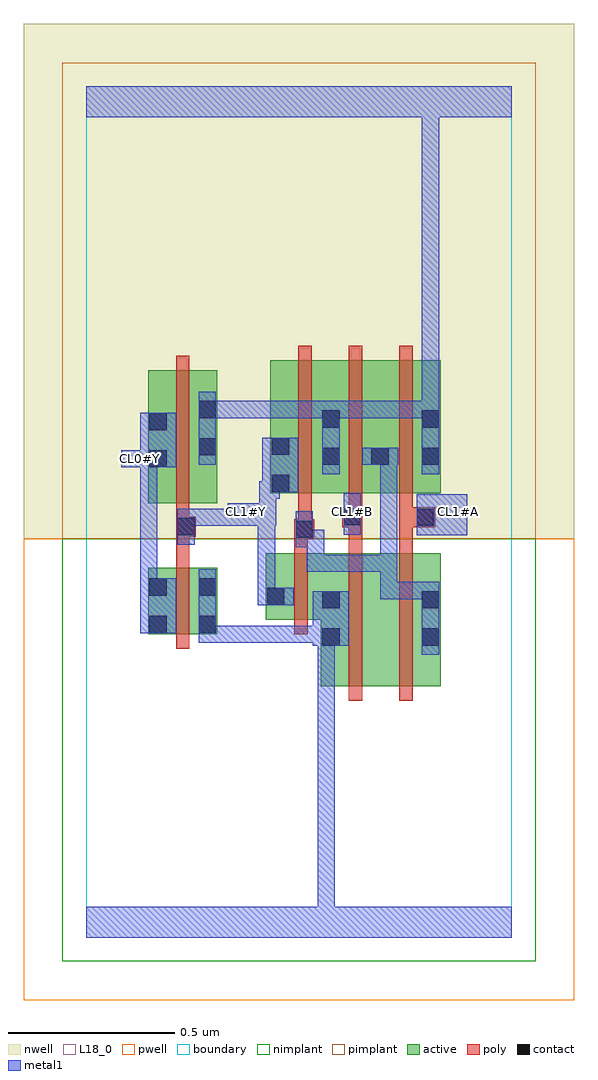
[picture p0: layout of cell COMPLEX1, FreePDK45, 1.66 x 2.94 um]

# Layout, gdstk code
import gdstk
lib = gdstk.Library(unit=1e-6, precision=1e-09)
def R(c, l, rs):  # rectangles x0, y0, x1, y1
    for r in rs: c.add(gdstk.rectangle(r[:2], r[2:], *l))
def A(c, l, x, y, w, h, nx, ny, dx, dy):  # array of equal rectangles
    R(c, l, [(x+i*dx, y+j*dy, x+i*dx+w, y+j*dy+h) for i in range(nx) for j in range(ny)])
active = (1, 0)
pwell = (2, 0)
nwell = (3, 0)
nimplant = (4, 0)
pimplant = (5, 0)
poly = (9, 0)
contact = (10, 0)
metal1 = (11, 0)
L18_0 = (18, 0)
boundary = (235, 0)

complex1 = lib.new_cell('COMPLEX1')
R(complex1, active, [(0.706,0.756,0.766,1.156), (0.706,0.756,0.886,1.156), (0.886,0.756,1.066,1.156), (1.006,0.756,1.066,1.156), (0.186,0.912,0.246,1.112), (0.186,0.912,0.394,1.112), (0.334,0.912,0.394,1.112), (0.54,0.956,0.766,1.156), (0.54,0.956,0.6,1.156), (0.186,1.306,0.394,1.706), (0.186,1.306,0.246,1.644), (0.334,1.306,0.394,1.644), (0.554,1.336,0.614,1.644), (0.554,1.336,0.766,1.736), (0.706,1.336,0.766,1.644), (0.706,1.336,0.914,1.736), (0.854,1.336,0.914,1.644), (0.854,1.336,1.066,1.736), (1.006,1.336,1.066,1.644)])
R(complex1, pwell, [(-0.188,-0.188,1.468,1.2)])
R(complex1, nwell, [(-0.188,1.2,1.468,2.748)])
R(complex1, nimplant, [(-0.072,-0.072,1.352,1.2)])
R(complex1, pimplant, [(-0.072,1.2,1.352,2.632)])
A(complex1, poly, 0.638, 1.292, 0.04, 0.488, 3, 1, 0.152, 0)
R(complex1, poly, [(0.79,0.712,0.83,1.2), (0.942,0.712,0.982,1.2), (0.27,0.868,0.31,1.156), (0.626,0.912,0.666,1.2), (0.27,1.116,0.31,1.246), (0.626,1.16,0.666,1.238), (0.79,1.16,0.83,1.274), (0.942,1.16,0.982,1.274), (0.626,1.198,0.686,1.258), (0.27,1.206,0.33,1.266), (0.638,1.218,0.678,1.258), (0.638,1.218,0.678,1.258), (0.638,1.218,0.678,1.332), (0.27,1.226,0.31,1.266), (0.27,1.226,0.31,1.266), (0.27,1.226,0.31,1.302), (0.77,1.234,0.83,1.296), (0.79,1.234,0.83,1.274), (0.79,1.234,0.83,1.274), (0.942,1.234,1.05,1.294), (0.942,1.254,0.982,1.332), (0.942,1.254,0.982,1.294), (0.942,1.254,0.982,1.294), (0.79,1.256,0.83,1.332), (0.27,1.262,0.31,1.75)])
R(complex1, contact, [(0.71,0.878,0.762,0.93), (1.01,0.878,1.062,0.93), (0.19,0.916,0.242,0.968), (0.338,0.916,0.39,0.968), (0.71,0.99,0.762,1.042), (1.01,0.99,1.062,1.042), (0.544,1,0.596,1.052), (0.19,1.028,0.242,1.08), (0.338,1.028,0.39,1.08), (0.63,1.202,0.682,1.254), (0.274,1.21,0.326,1.262), (0.994,1.238,1.046,1.29), (0.774,1.24,0.826,1.292), (0.558,1.34,0.61,1.392), (0.19,1.414,0.242,1.466), (0.71,1.422,0.762,1.474), (0.858,1.422,0.91,1.474), (1.01,1.422,1.062,1.474), (0.338,1.45,0.39,1.502), (0.558,1.452,0.61,1.504), (0.19,1.526,0.242,1.578), (0.71,1.534,0.762,1.586), (1.01,1.534,1.062,1.586), (0.338,1.562,0.39,1.614)])
R(complex1, metal1, [(0,0,1.28,0.092), (0.696,0.04,0.748,0.092), (0.696,0.04,0.748,0.092), (0.696,0.04,0.748,0.93), (1.01,0.85,1.062,1.07), (0.682,0.878,0.79,1.042), (0.696,0.878,0.748,0.93), (0.696,0.878,0.748,0.93), (0.696,0.878,0.748,0.93), (0.696,0.878,0.748,0.93), (0.696,0.878,0.748,0.93), (0.696,0.878,0.748,0.93), (0.696,0.878,0.748,0.93), (0.696,0.878,0.748,0.93), (0.696,0.878,0.748,0.93), (0.696,0.878,0.748,0.93), (0.338,0.886,0.606,0.938), (0.338,0.886,0.39,1.108), (0.554,0.886,0.606,0.938), (0.554,0.886,0.606,0.938), (0.554,0.886,0.606,0.938), (0.554,0.886,0.606,0.938), (0.554,0.886,0.606,0.938), (0.554,0.886,0.606,0.938), (0.554,0.886,0.606,0.938), (0.554,0.886,0.734,0.938), (0.162,0.916,0.27,1.08), (0.516,1,0.624,1.052), (0.516,1,0.568,1.29), (0.884,1.018,0.936,1.07), (0.884,1.018,1.062,1.07), (0.884,1.018,0.936,1.152), (1.01,1.018,1.062,1.07), (1.01,1.018,1.062,1.07), (0.162,1.028,0.214,1.466), (0.664,1.1,0.936,1.152), (0.664,1.1,0.716,1.226), (0.884,1.1,0.936,1.152), (0.884,1.1,0.936,1.152), (0.884,1.1,0.936,1.152), (0.884,1.1,0.936,1.152), (0.884,1.1,0.936,1.152), (0.884,1.1,0.936,1.474), (0.63,1.174,0.716,1.226), (0.63,1.174,0.682,1.282), (0.274,1.182,0.326,1.29), (0.994,1.21,1.146,1.334), (0.774,1.212,0.826,1.336), (0.274,1.238,0.326,1.29), (0.274,1.238,0.326,1.29), (0.274,1.238,0.478,1.29), (0.426,1.238,0.572,1.306), (0.52,1.254,0.572,1.372), (0.52,1.32,0.582,1.372), (0.53,1.32,0.582,1.392), (0.53,1.34,0.638,1.504), (0.71,1.394,0.762,1.614), (1.01,1.394,1.062,1.614), (0.106,1.414,0.214,1.466), (0.162,1.414,0.214,1.466), (0.162,1.414,0.214,1.466), (0.162,1.414,0.214,1.466), (0.162,1.414,0.27,1.578), (0.338,1.422,0.39,1.642), (0.83,1.422,0.938,1.474), (0.338,1.562,0.606,1.614), (0.554,1.562,0.606,1.614), (0.554,1.562,0.606,1.614), (0.554,1.562,0.606,1.614), (0.554,1.562,0.762,1.614), (0.71,1.562,0.936,1.614), (0.884,1.562,0.936,1.614), (0.884,1.562,0.936,1.614), (0.884,1.562,0.936,1.614), (0.884,1.562,1.062,1.614), (1.01,1.562,1.062,1.614), (1.01,1.562,1.062,1.614), (1.01,1.562,1.062,1.614), (1.01,1.562,1.062,1.614), (1.01,1.562,1.062,1.614), (1.01,1.562,1.062,1.614), (1.01,1.562,1.062,1.614), (1.01,1.562,1.062,1.614), (1.01,1.562,1.062,2.52), (0,2.468,1.28,2.56), (1.01,2.468,1.062,2.52), (1.01,2.468,1.062,2.52), (1.01,2.468,1.062,2.52), (1.01,2.468,1.062,2.52), (1.01,2.468,1.062,2.52), (1.01,2.468,1.062,2.52), (1.01,2.468,1.062,2.52), (1.01,2.468,1.062,2.52), (1.01,2.468,1.062,2.52), (1.01,2.468,1.062,2.52)])
A(complex1, L18_0, 0.454, 1.254, 0.052, 0.052, 3, 1, 0.32, 0)
R(complex1, L18_0, [(0,0,1.28,0.092), (0.696,0.04,0.748,0.092), (0.696,0.04,0.748,0.092), (0.696,0.04,0.748,0.93), (0.682,0.878,0.79,1.042), (0.696,0.878,0.748,0.93), (0.696,0.878,0.748,0.93), (0.696,0.878,0.748,0.93), (0.696,0.878,0.748,0.93), (0.696,0.878,0.748,0.93), (0.696,0.878,0.748,0.93), (0.696,0.878,0.748,0.93), (0.696,0.878,0.748,0.93), (0.696,0.878,0.748,0.93), (0.696,0.878,0.748,0.93), (0.338,0.886,0.39,1.108), (0.338,0.886,0.606,0.938), (0.554,0.886,0.606,0.938), (0.554,0.886,0.606,0.938), (0.554,0.886,0.606,0.938), (0.554,0.886,0.606,0.938), (0.554,0.886,0.606,0.938), (0.554,0.886,0.606,0.938), (0.554,0.886,0.606,0.938), (0.554,0.886,0.734,0.938), (0.162,0.916,0.27,1.08), (0.516,1,0.624,1.052), (0.516,1,0.568,1.29), (0.162,1.028,0.214,1.466), (0.274,1.182,0.326,1.29), (0.994,1.21,1.146,1.334), (0.774,1.212,0.826,1.336), (0.274,1.238,0.326,1.29), (0.274,1.238,0.326,1.29), (0.274,1.238,0.478,1.29), (0.426,1.238,0.572,1.306), (0.52,1.254,0.572,1.372), (0.52,1.32,0.582,1.372), (0.53,1.32,0.582,1.392), (0.53,1.34,0.638,1.504), (0.71,1.394,0.762,1.614), (1.01,1.394,1.062,1.614), (0.106,1.414,0.214,1.466), (0.134,1.414,0.186,1.466), (0.162,1.414,0.27,1.578), (0.162,1.414,0.214,1.466), (0.162,1.414,0.214,1.466), (0.162,1.414,0.214,1.466), (0.338,1.422,0.39,1.642), (0.338,1.562,0.606,1.614), (0.554,1.562,0.606,1.614), (0.554,1.562,0.606,1.614), (0.554,1.562,0.606,1.614), (0.554,1.562,0.762,1.614), (0.71,1.562,0.936,1.614), (0.884,1.562,0.936,1.614), (0.884,1.562,0.936,1.614), (0.884,1.562,0.936,1.614), (0.884,1.562,1.062,1.614), (1.01,1.562,1.062,1.614), (1.01,1.562,1.062,1.614), (1.01,1.562,1.062,1.614), (1.01,1.562,1.062,1.614), (1.01,1.562,1.062,1.614), (1.01,1.562,1.062,1.614), (1.01,1.562,1.062,1.614), (1.01,1.562,1.062,1.614), (1.01,1.562,1.062,2.52), (0,2.468,1.28,2.56), (1.01,2.468,1.062,2.52), (1.01,2.468,1.062,2.52), (1.01,2.468,1.062,2.52), (1.01,2.468,1.062,2.52), (1.01,2.468,1.062,2.52), (1.01,2.468,1.062,2.52), (1.01,2.468,1.062,2.52), (1.01,2.468,1.062,2.52), (1.01,2.468,1.062,2.52), (1.01,2.468,1.062,2.52)])
R(complex1, boundary, [(0,0,1.28,2.56)])
complex1.add(gdstk.Label('CL0#Y', (0.16,1.44), layer=11, texttype=0))
complex1.add(gdstk.Label('CL1#A', (1.12,1.28), layer=11, texttype=0))
complex1.add(gdstk.Label('CL1#B', (0.8,1.28), layer=11, texttype=0))
complex1.add(gdstk.Label('CL1#Y', (0.48,1.28), layer=11, texttype=0))

lib.write_gds('COMPLEX1.gds')
